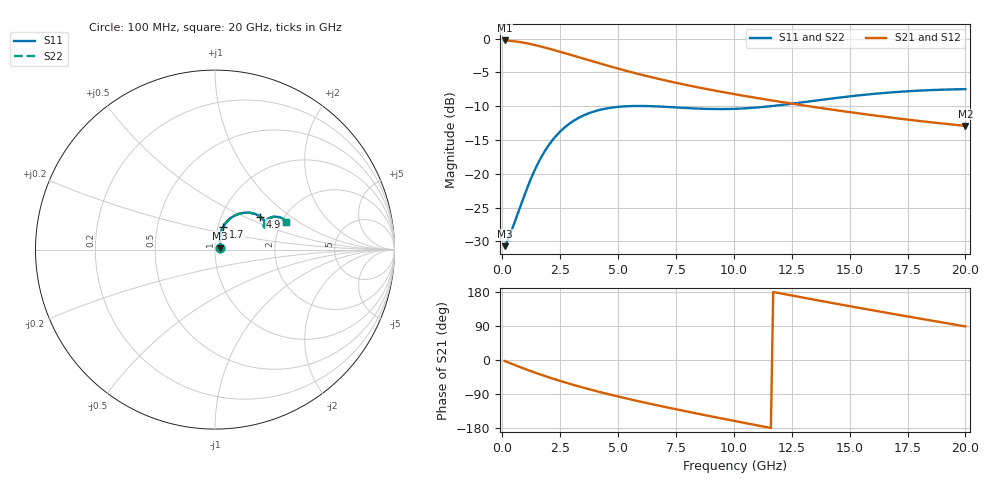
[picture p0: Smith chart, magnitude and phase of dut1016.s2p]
! Touchstone file exported from HFSS 2024.1.0
!  File:  C:/UserFiles/LocalFiles/RDL_TSV_Batchsim/temp_RDL_TSV_1016_1780080120.aedt
!  Generated:  02:57:49 AM May 30, 2026
!  Design:  RDL_TSV
!  Project:  temp_RDL_TSV_1016_1780080120
!  Setup:  Setup1
!  Solution:  Sweep
! Variables:
!  dtsv = 14.41um
!  hbump = 3um
!  htsv = 68.21um
!  ldown = 622.61um
!  lrdl = 534.45um
!  p = 40
!  p1 = 57.62um
!  rhole = 10um
!  subl = 4005.63um
!  t = 450um
!  tdown = 2.16um
!  trdl = 4.9um
!  viad = 10um
!  wdown = 15.94um
!  wrdl = 15.62um
!  xbump = 18um
# GHz S MA R 50.000000
! Terminal data exported
! Port[1] = TM1_1_T1
! Port[2] = TM1_4_T1
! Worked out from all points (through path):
!   200 points, 100 MHz to 20 GHz, reference 50 ohm
!   highest |S21| = -0.25 dB at 100 MHz (marker M1); lowest = -12.9 dB at 20 GHz (marker M2)
!   group delay of S21, straight-line fit = 35.4 ps
!   lowest |S11| = -30.7 dB at 100 MHz (marker M3), VSWR 1.06, Z = 52.9 + j0.677 ohm
!   |S11| at or under -10 dB: start of sweep to 5.359 GHz; 6.519 GHz to 11.57 GHz (5.055 GHz wide, 55.9 % of centre)
!   |S22| runs from -30.7 to -7.5 dB; largest |S21 - S12| = 9e-15
!   S11 on the Smith chart (normalised r, x): 100 MHz: 1.06, +0.01; 1.7 GHz: 1.06, +0.27; 4.9 GHz: 1.52, +0.62; 20 GHz: 2.09, +0.79
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0.1  0.02908 12.7  0.9711 -2.5  0.9711 -2.5  0.02908 12.7
! Gamma 0 0 0 0
! Port Impedance 50 0 50 0
0.2  0.03128 23.8  0.9693 -5.0  0.9693 -5.0  0.03128 23.8
0.5  0.04216 47.1  0.9588 -12.4  0.9588 -12.4  0.04217 47.1
0.9  0.06517 64.4  0.9362 -21.8  0.9362 -21.8  0.06516 64.3
1.3  0.09738 70.5  0.9065 -30.8  0.9065 -30.8  0.09732 70.5
1.7  0.1342 70.2  0.8728 -39.4  0.8728 -39.4  0.1341 70.1
2.1  0.1712 66.8  0.837 -47.5  0.837 -47.5  0.1711 66.7
2.5  0.2054 62.1  0.8006 -55.3  0.8006 -55.3  0.2051 62.1
3  0.2417 55.9  0.7558 -64.4  0.7558 -64.4  0.2414 55.8
3.5  0.27 49.8  0.7128 -73.0  0.7128 -73.0  0.2696 49.8
4.2  0.2969 42.3  0.6571 -84.3  0.6571 -84.3  0.2965 42.3
4.9  0.3117 36.1  0.6076 -94.9  0.6076 -94.9  0.3111 36.1
5.8  0.3178 30.1  0.5526 -107.6  0.5526 -107.6  0.3172 30.1
6.8  0.3147 25.9  0.5019 -121.0  0.5019 -121.0  0.314 25.9
8.4  0.3041 24.0  0.4382 -141.2  0.4382 -141.2  0.3034 24.0
10.1  0.3029 26.1  0.3866 -161.7  0.3866 -161.7  0.3022 26.2
11.6  0.3166 28.7  0.3499 -179.4  0.3499 -179.4  0.316 28.8
13.4  0.3458 30.0  0.3134 159.9  0.3134 159.9  0.3454 30.1
15  0.3742 29.2  0.2861 142.0  0.2861 142.0  0.3739 29.2
16.7  0.3994 26.9  0.2618 123.5  0.2618 123.5  0.3992 27.0
18.3  0.4152 24.3  0.2428 106.5  0.2428 106.5  0.4151 24.3
20  0.4232 21.6  0.2263 88.6  0.2263 88.6  0.4231 21.6
